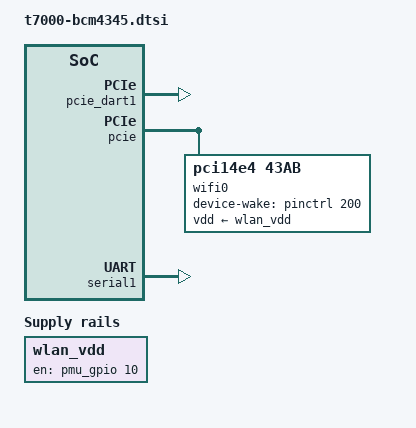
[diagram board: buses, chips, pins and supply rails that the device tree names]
// SPDX-License-Identifier: GPL-2.0+ OR MIT
/*
 * The BCM4345 Wi-Fi and Bluetooth module of the iPod touch 6 (N102), the
 * iPhone 6 (N61) and the iPhone 6 Plus (N56). Their Apple device trees
 * (iOS 12, DeviceTree.n102ap, n61ap, n56ap) wire it alike: Wi-Fi on PCIe
 * port 1 behind dart-apcie1 with REG_ON on D2186 GPIO 10, Bluetooth on
 * uart1 with power on D2186 GPIO 8 and device-wake on AP GPIO 50. Each
 * board names its module (board-type) and its Bluetooth controller.
 */

/ {
	aliases {
		bluetooth0 = &bluetooth;
		serial1 = &serial1;
		wifi0 = &wifi0;
	};

	/* ADT uart4/wlan function-reg_on: D2186 GPIO 10 */
	wlan_vdd: regulator-wlan-vdd {
		compatible = "regulator-fixed";
		regulator-name = "wlan-vdd";
		gpio = <&pmu_gpio 10 GPIO_ACTIVE_HIGH>;
		enable-active-high;
		off-on-delay-us = <100000>;
	};
};

&pcie_dart1 {
	status = "okay";
};

/*
 * The BCM4345 on root port 1 (ADT apcie/pci-bridge1): PERST# GPIO 77,
 * DEVICE_WAKE GPIO 200, Gen1. Port 0 has nothing attached. CLKREQ#
 * (GPIO 41) is not described, as on the T7001 and mini 4.
 */
&pcie {
	/* ADT dart-apcie1 vm-offset and vm-size; SID 0 */
	iommu-map = <0x100 &pcie_dart1 0 0x0 0x80000000 0x0 0x3ffff000 1>;
	iommu-map-mask = <0xff00>;
	status = "okay";

	pci@1,0 {
		device_type = "pci";
		reg = <0x800 0x0 0x0 0x0 0x0>;
		bus-range = <1 1>;
		reset-gpios = <&pinctrl 77 GPIO_ACTIVE_LOW>;
		max-link-speed = <1>;
		#address-cells = <3>;
		#size-cells = <2>;
		ranges;

		wifi0: wifi@0,0 {
			compatible = "pci14e4,43ab";
			reg = <0x10000 0x0 0x0 0x0 0x0>;
			device-wake-gpios = <&pinctrl 200 GPIO_ACTIVE_HIGH>;
			vdd-supply = <&wlan_vdd>;
			brcm,ccode-map-trivial;
		};
	};
};

/*
 * The module's Bluetooth on UART1, from the ADT uart1/bluetooth node:
 * power enable on D2186 GPIO 8, BT_WAKE on GPIO 50. m1n1 adds the device
 * address. Starts at 115,200 baud; the ADT allows 3 Mbit/s.
 */
&serial1 {
	pinctrl-0 = <&uart1_pins>;
	pinctrl-names = "default";
	uart-has-rtscts;
	status = "okay";

	bluetooth: bluetooth {
		current-speed = <115200>;
		shutdown-gpios = <&pmu_gpio 8 GPIO_ACTIVE_HIGH>;
		device-wakeup-gpios = <&pinctrl 50 GPIO_ACTIVE_HIGH>;
		apple,wlan = <&wifi0>;
	};
};
